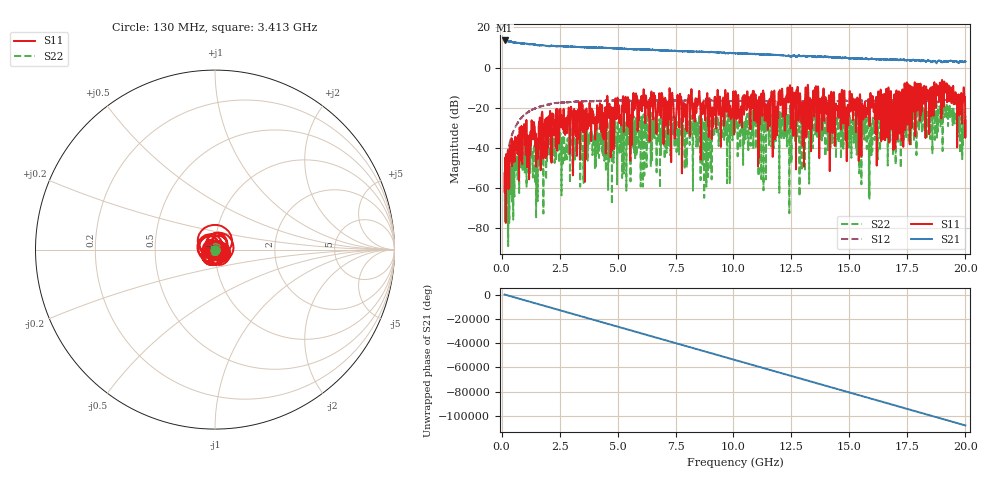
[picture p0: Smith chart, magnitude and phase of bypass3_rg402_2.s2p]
!Created with skrf (http://scikit-rf.org).
# GHz S RI R 50.0
!freq ReS11 ImS11 ReS21 ImS21 ReS12 ImS12 ReS22 ImS22
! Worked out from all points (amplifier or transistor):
!   20013 points, 130 MHz to 20 GHz, reference 50 ohm
!   highest |S21| = 13.5 dB at 131 MHz (marker M1)
!   |S21| within 3 dB of that: start of sweep to 2.8 GHz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
!   unconditionally stable (mu >= 1): start of sweep to end of sweep
!   at 3.465 GHz: K = 1.30, MAG = 10.2 dB, |S12| = -16.8 dB
!   at 10.14 GHz: K = 1.68, MAG = 7.1 dB, |S12| = -16.7 dB
!   at 20 GHz: K = 2.36, MAG = 3.0 dB, |S12| = -16.1 dB
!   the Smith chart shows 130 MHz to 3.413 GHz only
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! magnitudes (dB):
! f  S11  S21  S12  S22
! 130 MHz  -53.9  13.4  -53.6  -58.6
! 131 MHz  -54.1  13.5  -53.4  -58.8
! 464 MHz  -40.7  12.7  -33.0  -49.6
! 960 MHz  -30.6  11.9  -23.8  -37.1
! 3.442 GHz  -17.2  10.1  -16.9  -30.1
! 5.566 GHz  -26.0  9.2  -16.5  -39.0
! 6.086 GHz  -15.7  9.0  -16.4  -29.7
! 6.754 GHz  -17.4  8.6  -16.4  -28.4
! 7.316 GHz  -27.4  8.4  -16.5  -30.4
! 7.467 GHz  -31.9  8.3  -16.5  -34.6
! 7.658 GHz  -25.4  8.2  -16.5  -38.3
! 7.906 GHz  -20.3  8.1  -16.4  -34.6
! 8.124 GHz  -25.8  8.1  -16.5  -29.9
! 8.998 GHz  -18.4  7.7  -16.4  -31.5
! 10.06 GHz  -16.2  7.1  -16.7  -32.2
! 13.38 GHz  -25.3  5.7  -16.4  -32.7
! 15.91 GHz  -12.9  4.2  -16.6  -26.9
! 16.69 GHz  -10.3  3.7  -16.8  -20.8
! 16.9 GHz  -29.2  4.0  -16.6  -25.1
! 17.46 GHz  -8.0  3.5  -16.9  -22.6
! 19.08 GHz  -7.1  2.9  -16.5  -18.3
! 20 GHz  -26.3  2.9  -16.1  -24.0
